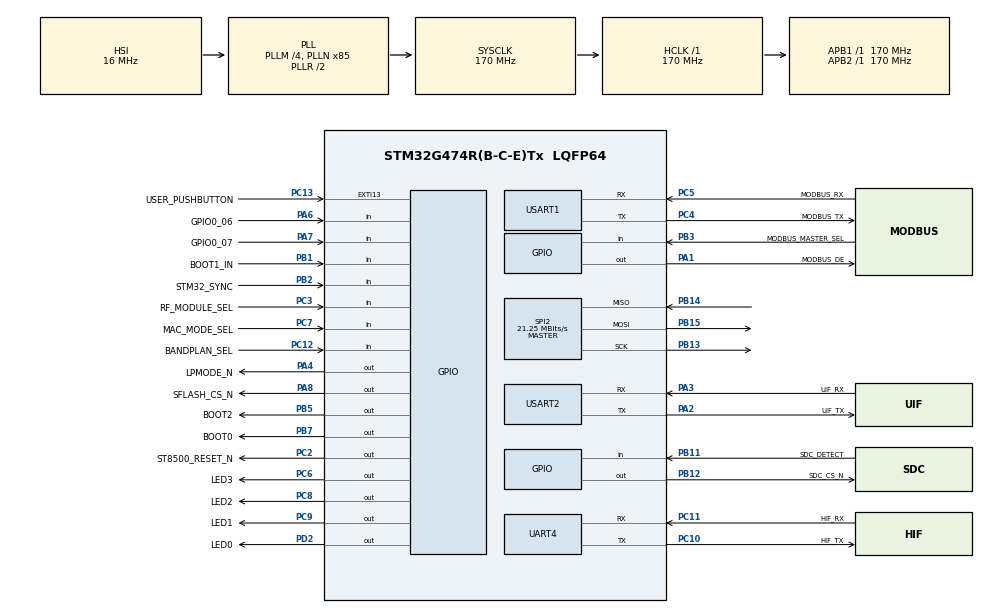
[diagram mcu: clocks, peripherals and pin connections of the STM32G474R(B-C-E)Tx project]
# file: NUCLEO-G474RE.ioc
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Dma.Request0=SPI2_TX
Dma.Request1=SPI2_RX
Dma.Request2=USART2_TX
Dma.Request3=UART4_RX
Dma.Request4=UART4_TX
Dma.SPI2_RX.1.Direction=DMA_PERIPH_TO_MEMORY
Dma.SPI2_RX.1.EventEnable=DISABLE
Dma.SPI2_RX.1.Instance=DMA1_Channel5
Dma.SPI2_RX.1.MemDataAlignment=DMA_MDATAALIGN_BYTE
Dma.SPI2_RX.1.MemInc=DMA_MINC_ENABLE
Dma.SPI2_RX.1.Mode=DMA_NORMAL
Dma.SPI2_RX.1.PeriphDataAlignment=DMA_PDATAALIGN_BYTE
Dma.SPI2_RX.1.PeriphInc=DMA_PINC_DISABLE
Dma.SPI2_RX.1.Polarity=HAL_DMAMUX_REQ_GEN_RISING
Dma.SPI2_RX.1.Priority=DMA_PRIORITY_HIGH
Dma.SPI2_RX.1.RequestNumber=1
Dma.SPI2_RX.1.SignalID=NONE
Dma.SPI2_RX.1.SyncEnable=DISABLE
Dma.SPI2_RX.1.SyncPolarity=HAL_DMAMUX_SYNC_NO_EVENT
Dma.SPI2_RX.1.SyncRequestNumber=1
Dma.SPI2_RX.1.SyncSignalID=NONE
Dma.SPI2_TX.0.Direction=DMA_MEMORY_TO_PERIPH
Dma.SPI2_TX.0.EventEnable=DISABLE
Dma.SPI2_TX.0.Instance=DMA1_Channel4
Dma.SPI2_TX.0.MemDataAlignment=DMA_MDATAALIGN_BYTE
Dma.SPI2_TX.0.MemInc=DMA_MINC_ENABLE
Dma.SPI2_TX.0.Mode=DMA_NORMAL
Dma.SPI2_TX.0.PeriphDataAlignment=DMA_PDATAALIGN_BYTE
Dma.SPI2_TX.0.PeriphInc=DMA_PINC_DISABLE
Dma.SPI2_TX.0.Polarity=HAL_DMAMUX_REQ_GEN_RISING
Dma.SPI2_TX.0.Priority=DMA_PRIORITY_LOW
Dma.SPI2_TX.0.RequestNumber=1
Dma.SPI2_TX.0.SignalID=NONE
Dma.SPI2_TX.0.SyncEnable=DISABLE
Dma.SPI2_TX.0.SyncPolarity=HAL_DMAMUX_SYNC_NO_EVENT
Dma.SPI2_TX.0.SyncRequestNumber=1
Dma.SPI2_TX.0.SyncSignalID=NONE
Dma.UART4_RX.3.Direction=DMA_PERIPH_TO_MEMORY
Dma.UART4_RX.3.EventEnable=DISABLE
Dma.UART4_RX.3.Instance=DMA1_Channel2
Dma.UART4_RX.3.MemDataAlignment=DMA_MDATAALIGN_BYTE
Dma.UART4_RX.3.MemInc=DMA_MINC_ENABLE
Dma.UART4_RX.3.Mode=DMA_NORMAL
Dma.UART4_RX.3.PeriphDataAlignment=DMA_PDATAALIGN_BYTE
Dma.UART4_RX.3.PeriphInc=DMA_PINC_DISABLE
Dma.UART4_RX.3.Polarity=HAL_DMAMUX_REQ_GEN_RISING
Dma.UART4_RX.3.Priority=DMA_PRIORITY_VERY_HIGH
Dma.UART4_RX.3.RequestNumber=1
Dma.UART4_RX.3.SignalID=NONE
Dma.UART4_RX.3.SyncEnable=DISABLE
Dma.UART4_RX.3.SyncPolarity=HAL_DMAMUX_SYNC_NO_EVENT
Dma.UART4_RX.3.SyncRequestNumber=1
Dma.UART4_RX.3.SyncSignalID=NONE
Dma.UART4_TX.4.Direction=DMA_MEMORY_TO_PERIPH
Dma.UART4_TX.4.EventEnable=DISABLE
Dma.UART4_TX.4.Instance=DMA1_Channel3
Dma.UART4_TX.4.MemDataAlignment=DMA_MDATAALIGN_BYTE
Dma.UART4_TX.4.MemInc=DMA_MINC_ENABLE
Dma.UART4_TX.4.Mode=DMA_NORMAL
Dma.UART4_TX.4.PeriphDataAlignment=DMA_PDATAALIGN_BYTE
Dma.UART4_TX.4.PeriphInc=DMA_PINC_DISABLE
Dma.UART4_TX.4.Polarity=HAL_DMAMUX_REQ_GEN_RISING
Dma.UART4_TX.4.Priority=DMA_PRIORITY_MEDIUM
Dma.UART4_TX.4.RequestNumber=1
Dma.UART4_TX.4.SignalID=NONE
Dma.UART4_TX.4.SyncEnable=DISABLE
Dma.UART4_TX.4.SyncPolarity=HAL_DMAMUX_SYNC_NO_EVENT
Dma.UART4_TX.4.SyncRequestNumber=1
Dma.UART4_TX.4.SyncSignalID=NONE
Dma.USART2_TX.2.Direction=DMA_MEMORY_TO_PERIPH
Dma.USART2_TX.2.EventEnable=DISABLE
Dma.USART2_TX.2.Instance=DMA1_Channel1
Dma.USART2_TX.2.MemDataAlignment=DMA_MDATAALIGN_BYTE
Dma.USART2_TX.2.MemInc=DMA_MINC_ENABLE
Dma.USART2_TX.2.Mode=DMA_NORMAL
Dma.USART2_TX.2.PeriphDataAlignment=DMA_PDATAALIGN_BYTE
Dma.USART2_TX.2.PeriphInc=DMA_PINC_DISABLE
Dma.USART2_TX.2.Polarity=HAL_DMAMUX_REQ_GEN_RISING
Dma.USART2_TX.2.Priority=DMA_PRIORITY_LOW
Dma.USART2_TX.2.RequestNumber=1
Dma.USART2_TX.2.SignalID=NONE
Dma.USART2_TX.2.SyncEnable=DISABLE
Dma.USART2_TX.2.SyncPolarity=HAL_DMAMUX_SYNC_NO_EVENT
Dma.USART2_TX.2.SyncRequestNumber=1
Dma.USART2_TX.2.SyncSignalID=NONE
FATFS._FS_NORTC=1
FATFS._FS_TINY=1
FATFS._NORTC_MDAY=1
FATFS._NORTC_MON=1
FATFS._NORTC_YEAR=2023
FREERTOS.INCLUDE_eTaskGetState=1
FREERTOS.INCLUDE_uxTaskGetStackHighWaterMark=1
FREERTOS.INCLUDE_vTaskDelayUntil=1
FREERTOS.INCLUDE_vTaskDelete=1
FREERTOS.INCLUDE_vTaskSuspend=1
FREERTOS.Tasks01=default_task,8,64,start_default_task,As weak,NULL,Static,default_taskBuffer,default_taskControlBlock
FREERTOS.configCHECK_FOR_STACK_OVERFLOW=2
FREERTOS.configENABLE_BACKWARD_COMPATIBILITY=0
FREERTOS.configGENERATE_RUN_TIME_STATS=1
FREERTOS.configMINIMAL_STACK_SIZE=64
FREERTOS.configQUEUE_REGISTRY_SIZE=16
FREERTOS.configRECORD_STACK_HIGH_ADDRESS=1
FREERTOS.configTICK_RATE_HZ=1000
FREERTOS.configTIMER_TASK_STACK_DEPTH=200
FREERTOS.configTOTAL_HEAP_SIZE=512
FREERTOS.configUSE_MALLOC_FAILED_HOOK=1
FREERTOS.configUSE_NEWLIB_REENTRANT=1
FREERTOS.configUSE_STATS_FORMATTING_FUNCTIONS=0
FREERTOS.configUSE_TASK_NOTIFICATIONS=1
FREERTOS.configUSE_TRACE_FACILITY=1
Mcu.Family=STM32G4
Mcu.Name=STM32G474R(B-C-E)Tx
Mcu.Package=LQFP64
Mcu.UserConstants=SD_CS_GPIO_Port,SDC_CS_N_GPIO_Port;huartHostIf,huart4;huartModbus,huart1;hspiSFlash,hspi2;SD_CS_Pin,SDC_CS_N_Pin;huartUserIf,huart2;SD_SPI_HANDLE,hspi2;htimSys,htim6
NVIC.DMA1_Channel1_IRQn=true\:5\:0\:false\:false\:true\:true\:false\:true\:true
NVIC.DMA1_Channel2_IRQn=true\:5\:0\:false\:false\:true\:true\:false\:true\:true
NVIC.DMA1_Channel3_IRQn=true\:5\:0\:false\:false\:true\:true\:false\:true\:true
NVIC.DMA1_Channel4_IRQn=true\:5\:0\:false\:false\:true\:false\:false\:true\:true
NVIC.DMA1_Channel5_IRQn=true\:5\:0\:false\:false\:true\:false\:false\:true\:true
NVIC.EXTI15_10_IRQn=true\:5\:0\:false\:false\:true\:true\:true\:true\:true
NVIC.PriorityGroup=NVIC_PRIORITYGROUP_4
NVIC.TIM6_DAC_IRQn=true\:15\:0\:false\:false\:true\:false\:false\:true\:true
NVIC.TimeBase=TIM6_DAC_IRQn
NVIC.TimeBaseIP=TIM6
NVIC.UART4_IRQn=true\:5\:0\:false\:false\:true\:true\:true\:true\:true
NVIC.USART1_IRQn=true\:5\:0\:false\:false\:true\:true\:true\:true\:true
NVIC.USART2_IRQn=true\:5\:0\:false\:false\:true\:true\:true\:true\:true
PA1.GPIO_Label=MODBUS_DE
PA1.GPIO_Speed=GPIO_SPEED_FREQ_VERY_HIGH
PA1.Signal=GPIO_Output
PA11.Signal=FDCAN1_RX
PA12.Signal=FDCAN1_TX
PA13.Mode=Serial_Wire
PA13.Signal=SYS_JTMS-SWDIO
PA14.Mode=Serial_Wire
PA14.Signal=SYS_JTCK-SWCLK
PA2.GPIO_Label=UIF_TX
PA2.GPIO_Speed=GPIO_SPEED_FREQ_VERY_HIGH
PA2.Mode=Asynchronous
PA2.Signal=USART2_TX
PA3.GPIO_Label=UIF_RX
PA3.GPIO_Speed=GPIO_SPEED_FREQ_VERY_HIGH
PA3.Mode=Asynchronous
PA3.Signal=USART2_RX
PA4.GPIO_Label=LPMODE_N
PA4.PinState=GPIO_PIN_SET
PA4.Signal=GPIO_Output
PA6.GPIO_Label=GPIO0_06
PA6.Signal=GPIO_Input
PA7.GPIO_Label=GPIO0_07
PA7.Signal=GPIO_Input
PA8.GPIO_Label=SFLASH_CS_N
PA8.GPIO_Speed=GPIO_SPEED_FREQ_VERY_HIGH
PA8.PinState=GPIO_PIN_SET
PA8.Signal=GPIO_Output
PB1.GPIO_Label=BOOT1_IN
PB1.GPIO_PuPd=GPIO_NOPULL
PB1.Signal=GPIO_Input
PB11.GPIO_Label=SDC_DETECT
PB11.Signal=GPIO_Input
PB12.GPIO_Label=SDC_CS_N
PB12.Signal=GPIO_Output
PB13.Mode=Full_Duplex_Master
PB13.Signal=SPI2_SCK
PB14.Mode=Full_Duplex_Master
PB14.Signal=SPI2_MISO
PB15.Mode=Full_Duplex_Master
PB15.Signal=SPI2_MOSI
PB2.GPIO_Label=STM32_SYNC
PB2.Signal=GPIO_Input
PB3.GPIO_Label=MODBUS_MASTER_SEL
PB3.GPIO_PuPd=GPIO_PULLUP
PB3.Signal=GPIO_Input
PB5.GPIO_Label=BOOT2
PB5.Signal=GPIO_Output
PB7.GPIO_Label=BOOT0
PB7.Signal=GPIO_Output
PB8-BOOT0.Signal=I2C1_SCL
PB9.Signal=I2C1_SDA
PC10.GPIO_Label=HIF_TX
PC10.GPIO_Speed=GPIO_SPEED_FREQ_VERY_HIGH
PC10.Mode=Asynchronous
PC10.Signal=UART4_TX
PC11.GPIO_Label=HIF_RX
PC11.GPIO_Speed=GPIO_SPEED_FREQ_VERY_HIGH
PC11.Mode=Asynchronous
PC11.Signal=UART4_RX
PC12.GPIO_Label=BANDPLAN_SEL
PC12.Signal=GPIO_Input
PC13.GPIO_Label=USER_PUSHBUTTON
PC13.Signal=GPXTI13
PC2.GPIO_Label=ST8500_RESET_N
PC2.PinState=GPIO_PIN_SET
PC2.Signal=GPIO_Output
PC3.GPIO_Label=RF_MODULE_SEL
PC3.GPIO_PuPd=GPIO_PULLDOWN
PC3.Signal=GPIO_Input
PC4.GPIO_Label=MODBUS_TX
PC4.GPIO_Speed=GPIO_SPEED_FREQ_VERY_HIGH
PC4.Mode=Asynchronous
PC4.Signal=USART1_TX
PC5.GPIO_Label=MODBUS_RX
PC5.GPIO_Speed=GPIO_SPEED_FREQ_VERY_HIGH
PC5.Mode=Asynchronous
PC5.Signal=USART1_RX
PC6.GPIO_Label=LED3
PC6.PinState=GPIO_PIN_SET
PC6.Signal=GPIO_Output
PC7.GPIO_Label=MAC_MODE_SEL
PC7.GPIO_PuPd=GPIO_PULLUP
PC7.Signal=GPIO_Input
PC8.GPIO_Label=LED2
PC8.PinState=GPIO_PIN_SET
PC8.Signal=GPIO_Output
PC9.GPIO_Label=LED1
PC9.PinState=GPIO_PIN_SET
PC9.Signal=GPIO_Output
PD2.GPIO_Label=LED0
PD2.PinState=GPIO_PIN_SET
PD2.Signal=GPIO_Output
ProjectManager.HeapSize=0x200
ProjectManager.StackSize=0x400
ProjectManager.TargetToolchain=STM32CubeIDE
RCC.ADC12Freq_Value=170000000
RCC.ADC345Freq_Value=170000000
RCC.AHBFreq_Value=170000000
RCC.APB1Freq_Value=170000000
RCC.APB1TimFreq_Value=170000000
RCC.APB2Freq_Value=170000000
RCC.APB2TimFreq_Value=170000000
RCC.CortexFreq_Value=170000000
RCC.EXTERNAL_CLOCK_VALUE=12288000
RCC.HCLKFreq_Value=170000000
RCC.HSE_VALUE=24000000
RCC.HSI48_VALUE=48000000
RCC.HSI_VALUE=16000000
RCC.LSE_VALUE=32768
RCC.PLLM=RCC_PLLM_DIV4
RCC.PLLN=85
RCC.RTCClockSelection=RCC_RTCCLKSOURCE_LSE
RCC.SYSCLKFreq_VALUE=170000000
RCC.SYSCLKSource=RCC_SYSCLKSOURCE_PLLCLK
RCC.USBFreq_Value=170000000
RCC.VCOOutputFreq_Value=340000000
SPI2.BaudRatePrescaler=SPI_BAUDRATEPRESCALER_8
SPI2.CalculateBaudRate=21.25 MBits/s
SPI2.DataSize=SPI_DATASIZE_8BIT
SPI2.Direction=SPI_DIRECTION_2LINES
SPI2.Mode=SPI_MODE_MASTER
SPI2.NSSPMode=SPI_NSS_PULSE_DISABLE
SPI2.VirtualType=VM_MASTER
USART1.VirtualMode-Asynchronous=VM_ASYNC
USART2.VirtualMode-Asynchronous=VM_ASYNC
VP_FATFS_VS_Generic.Mode=User_defined
VP_FREERTOS_VS_CMSIS_V2.Mode=CMSIS_V2
VP_SYS_VS_DBSignals.Mode=DisableDeadBatterySignals
VP_SYS_VS_tim6.Mode=TIM6
board=NUCLEO-G474RE

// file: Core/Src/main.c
/* USER CODE BEGIN Header */
/**
  ******************************************************************************
  * @file           : main.c
  * @brief          : Main program body
  ******************************************************************************
  * @attention
  *
  * <h2><center>&copy; Copyright (c) 2020 STMicroelectronics.
  * All rights reserved.</center></h2>
  *
  * This software component is licensed by ST under Ultimate Liberty license
  * SLA0044, the "License"; You may not use this file except in compliance with
  * the License. You may obtain a copy of the License at:
  *                             www.st.com/SLA0044
  *
  ******************************************************************************
  */
/* USER CODE END Header */
#include "main.h"
#include "cmsis_os.h"
#include "dma.h"
#include "app_fatfs.h"
#include "spi.h"
#include "usart.h"
#include "gpio.h"

/* USER CODE BEGIN Includes */
#include <string.h>
#include <mem_pool.h>
#include <utils.h>
#include <debug_print.h>
#include <pin_management.h>
#include <image_download.h>
#include <print_task.h>

/* USER CODE END Includes */

void SystemClock_Config(void);
void MX_FREERTOS_Init(void);

int main(void)
{

  /* MCU Configuration--------------------------------------------------------*/

  /* Reset of all peripherals, Initializes the Flash interface and the Systick. */
  HAL_Init();

  /* Configure the system clock */
  SystemClock_Config();

  /* Initialize all configured peripherals */
  MX_GPIO_Init();
  MX_DMA_Init();
  MX_SPI2_Init();
  MX_UART4_Init();
  MX_USART1_UART_Init();
  MX_USART2_UART_Init();
  if (MX_FATFS_Init() != APP_OK) {
    Error_Handler();
  }
  /* USER CODE BEGIN 2 */

	mem_pool_init();

#if RESET_AT_START
	/* Put ST8500 under reset  */
	assertResetOnST8500();
#endif /* RESET_AT_START */

	/* Reads the boot mode for ST8500 */
	bool download_requested    = (readBootModeST8500() == ST8500_BOOT_FROM_UART);

#if ENABLE_LPMODE
	GPIO_InitTypeDef GPIO_InitStruct = IN_PIN_STR(ST8500_LPMODE_Pin);
	HAL_GPIO_Init(ST8500_LPMODE_GPIO_Port, &GPIO_InitStruct);
#endif /* ENABLE_LPMODE */

#if RESET_AT_START
	/* Sets the BOOT pins as output and sets their value, according to the boot modes */
	setBootPinsAsOutput();

	/* Wait for the GPIO to stabilize */
	utils_delay_ms(RESET_PULSE_DURATION);

	/* Releases ST8500 reset and loads its images */
	deassertResetOnST8500();

	/* Sets the BOOT pins as input, since it is no longer necessary to pilot them */
	setBootPinsAsInput();
#endif /* RESET_AT_START */

#if ENABLE_DOWNLOAD
	/* If the ST8500 boots from UART, downloads the image */
	if (download_requested == true)
	{
		/* Downloads both the PE and RTE the images to ST8500 */
		downloadImageToST8500();
	}
	else
	{
		PRINT(RESET_DISPLAY_STRING);
	}
#endif /* ENABLE_DOWNLOAD */

  /* USER CODE END 2 */

  /* Init scheduler */
  osKernelInitialize();  /* Call init function for freertos objects (in cmsis_os2.c) */
  MX_FREERTOS_Init();

  /* Start scheduler */
  osKernelStart();

  /* We should never get here as control is now taken by the scheduler */

  /* Infinite loop */
  while (1)
  {

  }
}

void SystemClock_Config(void)
{
  RCC_OscInitTypeDef RCC_OscInitStruct = {0};
  RCC_ClkInitTypeDef RCC_ClkInitStruct = {0};

  /** Configure the main internal regulator output voltage
  */
  HAL_PWREx_ControlVoltageScaling(PWR_REGULATOR_VOLTAGE_SCALE1_BOOST);

  /** Initializes the RCC Oscillators according to the specified parameters
  * in the RCC_OscInitTypeDef structure.
  */
  RCC_OscInitStruct.OscillatorType = RCC_OSCILLATORTYPE_HSI;
  RCC_OscInitStruct.HSIState = RCC_HSI_ON;
  RCC_OscInitStruct.HSICalibrationValue = RCC_HSICALIBRATION_DEFAULT;
  RCC_OscInitStruct.PLL.PLLState = RCC_PLL_ON;
  RCC_OscInitStruct.PLL.PLLSource = RCC_PLLSOURCE_HSI;
  RCC_OscInitStruct.PLL.PLLM = RCC_PLLM_DIV4;
  RCC_OscInitStruct.PLL.PLLN = 85;
  RCC_OscInitStruct.PLL.PLLP = RCC_PLLP_DIV2;
  RCC_OscInitStruct.PLL.PLLQ = RCC_PLLQ_DIV2;
  RCC_OscInitStruct.PLL.PLLR = RCC_PLLR_DIV2;
  if (HAL_RCC_OscConfig(&RCC_OscInitStruct) != HAL_OK)
  {
    Error_Handler();
  }

  /** Initializes the CPU, AHB and APB buses clocks
  */
  RCC_ClkInitStruct.ClockType = RCC_CLOCKTYPE_HCLK|RCC_CLOCKTYPE_SYSCLK
                              |RCC_CLOCKTYPE_PCLK1|RCC_CLOCKTYPE_PCLK2;
  RCC_ClkInitStruct.SYSCLKSource = RCC_SYSCLKSOURCE_PLLCLK;
  RCC_ClkInitStruct.AHBCLKDivider = RCC_SYSCLK_DIV1;
  RCC_ClkInitStruct.APB1CLKDivider = RCC_HCLK_DIV1;
  RCC_ClkInitStruct.APB2CLKDivider = RCC_HCLK_DIV1;

  if (HAL_RCC_ClockConfig(&RCC_ClkInitStruct, FLASH_LATENCY_4) != HAL_OK)
  {
    Error_Handler();
  }
}

void HAL_TIM_PeriodElapsedCallback(TIM_HandleTypeDef *htim)
{
  if (htim->Instance == TIM6)
  {
    HAL_IncTick();
  }
}

void Error_Handler(void)
{
  /* USER CODE BEGIN Error_Handler_Debug */
	/* Freeze the firmware execution, switching on all LEDs */
	__disable_irq();
	LED_SET_ALL_ON();
	while(1);

  /* USER CODE END Error_Handler_Debug */
}
#ifdef USE_FULL_ASSERT
/**
  * @brief  Reports the name of the source file and the source line number
  *         where the assert_param error has occurred.
  * @param  file: pointer to the source file name
  * @param  line: assert_param error line source number
  * @retval None
  */
void assert_failed(uint8_t *file, uint32_t line)
{
  /* USER CODE BEGIN 6 */
  PRINT("Wrong parameters value: file %s on line %lu.\n", file, line);
  /* USER CODE END 6 */
}
#endif /* USE_FULL_ASSERT */

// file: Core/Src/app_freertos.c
/* USER CODE BEGIN Header */
/**
  ******************************************************************************
  * File Name          : app_freertos.c
  * Description        : Code for freertos application
  ******************************************************************************
  * @attention
  *
  * <h2><center>&copy; Copyright (c) 2020 STMicroelectronics.
  * All rights reserved.</center></h2>
  *
  * This software component is licensed by ST under Ultimate Liberty license
  * SLA0044, the "License"; You may not use this file except in compliance with
  * the License. You may obtain a copy of the License at:
  *                             www.st.com/SLA0044
  *
  ******************************************************************************
  */
/* USER CODE END Header */

#include "FreeRTOS.h"
#include "task.h"
#include "main.h"
#include "cmsis_os.h"

typedef StaticTask_t osStaticThreadDef_t;

/* USER CODE BEGIN PD */

#if ENABLE_STACK_ALARM
/* If the free stack space of a task is detected below this threshold, the Error_Handler() function is called */
#define STACK_ALARM_THRESHOLD	64	/* In bytes */
#endif

/* USER CODE END PD */

/* Definitions for default_task */
osThreadId_t default_taskHandle;
uint32_t default_taskBuffer[ 64 ];
osStaticThreadDef_t default_taskControlBlock;
const osThreadAttr_t default_task_attributes = {
  .name = "default_task",
  .stack_mem = &default_taskBuffer[0],
  .stack_size = sizeof(default_taskBuffer),
  .cb_mem = &default_taskControlBlock,
  .cb_size = sizeof(default_taskControlBlock),
  .priority = (osPriority_t) osPriorityLow,
};

/* USER CODE BEGIN FunctionPrototypes */

/* Default FreeRTOS initialization */
extern void FreeRTOS_DefaultInit(void);

/* USER CODE END FunctionPrototypes */

void start_default_task(void *argument);

void MX_FREERTOS_Init(void); /* (MISRA C 2004 rule 8.1) */

/* Hook prototypes */
void configureTimerForRunTimeStats(void);
unsigned long getRunTimeCounterValue(void);
void vApplicationStackOverflowHook(TaskHandle_t xTask, signed char *pcTaskName);
void vApplicationMallocFailedHook(void);

/* USER CODE BEGIN 1 */
/* Functions needed when configGENERATE_RUN_TIME_STATS is on */
__weak void configureTimerForRunTimeStats(void)
{

}

__weak unsigned long getRunTimeCounterValue(void)
{
return 0;
}
/* USER CODE END 1 */

/* USER CODE BEGIN 4 */
void vApplicationStackOverflowHook(TaskHandle_t xTask, signed char *pcTaskName)
{
   /* Run time stack overflow checking is performed if
   configCHECK_FOR_STACK_OVERFLOW is defined to 1 or 2. This hook function is
   called if a stack overflow is detected. */
	UNUSED(xTask);
	UNUSED(pcTaskName);
	Error_Handler();
}
/* USER CODE END 4 */

/* USER CODE BEGIN 5 */
void vApplicationMallocFailedHook(void)
{
	/* vApplicationMallocFailedHook() will only be called if
	configUSE_MALLOC_FAILED_HOOK is set to 1 in FreeRTOSConfig.h. It is a hook
	function that will get called if a call to pvPortMalloc() fails.
	pvPortMalloc() is called internally by the kernel whenever a task, queue,
	timer or semaphore is created. It is also called by various parts of the
	demo application. If heap_1.c or heap_2.c are used, then the size of the
	heap available to pvPortMalloc() is defined by configTOTAL_HEAP_SIZE in
	FreeRTOSConfig.h, and the xPortGetFreeHeapSize() API function can be used
	to query the size of free heap space that remains (although it does not
	provide information on how the remaining heap might be fragmented). */

	Error_Handler();
}
/* USER CODE END 5 */

void MX_FREERTOS_Init(void) {
  /* USER CODE BEGIN Init */

	FreeRTOS_DefaultInit();

  /* USER CODE END Init */

  /* USER CODE BEGIN RTOS_QUEUES */

  /* add queues, ... */
  /* Remember to increase QUEUE_REGISTRY_SIZE in case new mutex/semaphores/queues are added (for RTOS kernel aware debugging) */

  /* USER CODE END RTOS_QUEUES */

  /* Create the thread(s) */
  /* creation of default_task */
  default_taskHandle = osThreadNew(start_default_task, NULL, &default_task_attributes);

  /* USER CODE BEGIN RTOS_EVENTS */

  /* Checks for allocation failure */
    if (default_taskHandle == NULL)
    {
    	Error_Handler();
    }
  /* USER CODE END RTOS_EVENTS */

}

__weak void start_default_task(void *argument)
{
  /* USER CODE BEGIN start_default_task */
	UNUSED(argument);
  /* Infinite loop */
  for(;;)
  {
    osDelay(1);
  }
  /* USER CODE END start_default_task */
}
